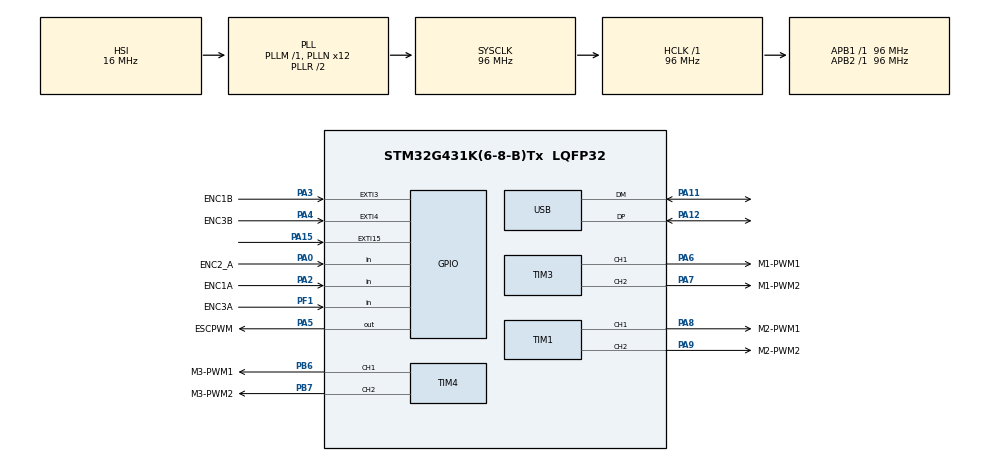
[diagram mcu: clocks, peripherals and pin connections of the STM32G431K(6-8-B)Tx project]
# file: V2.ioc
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Mcu.Family=STM32G4
Mcu.Name=STM32G431K(6-8-B)Tx
Mcu.Package=LQFP32
NVIC.EXTI3_IRQn=true\:0\:0\:false\:false\:true\:true\:true
NVIC.EXTI4_IRQn=true\:0\:0\:false\:false\:true\:true\:true
NVIC.PriorityGroup=NVIC_PRIORITYGROUP_4
NVIC.USB_LP_IRQn=true\:0\:0\:false\:false\:true\:false\:true
PA0.GPIO_Label=ENC2_A
PA0.Signal=GPIO_Input
PA11.Mode=Device
PA11.Signal=USB_DM
PA12.Mode=Device
PA12.Signal=USB_DP
PA13.Mode=Serial_Wire
PA13.Signal=SYS_JTMS-SWDIO
PA14.Mode=Serial_Wire
PA14.Signal=SYS_JTCK-SWCLK
PA15.Signal=GPXTI15
PA2.GPIO_Label=ENC1A
PA2.Signal=GPIO_Input
PA3.GPIO_Label=ENC1B
PA3.Signal=GPXTI3
PA4.GPIO_Label=ENC3B
PA4.Signal=GPXTI4
PA5.GPIO_Label=ESCPWM
PA5.Signal=GPIO_Output
PA6.GPIO_Label=M1-PWM1
PA6.Signal=S_TIM3_CH1
PA7.GPIO_Label=M1-PWM2
PA7.Signal=S_TIM3_CH2
PA8.GPIO_Label=M2-PWM1
PA8.Signal=S_TIM1_CH1
PA9.GPIO_Label=M2-PWM2
PA9.Signal=S_TIM1_CH2
PB6.GPIO_Label=M3-PWM1
PB6.Signal=S_TIM4_CH1
PB7.GPIO_Label=M3-PWM2
PB7.Signal=S_TIM4_CH2
PF1-OSC_OUT.GPIO_Label=ENC3A
PF1-OSC_OUT.Signal=GPIO_Input
ProjectManager.HeapSize=0x200
ProjectManager.StackSize=0x400
ProjectManager.TargetToolchain=STM32CubeIDE
RCC.ADC12Freq_Value=96000000
RCC.AHBFreq_Value=96000000
RCC.APB1Freq_Value=96000000
RCC.APB1TimFreq_Value=96000000
RCC.APB2Freq_Value=96000000
RCC.APB2TimFreq_Value=96000000
RCC.CortexFreq_Value=96000000
RCC.EXTERNAL_CLOCK_VALUE=12288000
RCC.HCLKFreq_Value=96000000
RCC.HSE_VALUE=8000000
RCC.HSI48_VALUE=48000000
RCC.HSI_VALUE=16000000
RCC.LSE_VALUE=32768
RCC.PLLN=12
RCC.PLLQ=RCC_PLLQ_DIV4
RCC.SYSCLKFreq_VALUE=96000000
RCC.SYSCLKSource=RCC_SYSCLKSOURCE_PLLCLK
RCC.USBFreq_Value=48000000
RCC.VCOOutputFreq_Value=192000000
SH.S_TIM1_CH1.0=TIM1_CH1,PWM Generation1 CH1
SH.S_TIM1_CH2.0=TIM1_CH2,PWM Generation2 CH2
SH.S_TIM3_CH1.0=TIM3_CH1,PWM Generation1 CH1
SH.S_TIM3_CH2.0=TIM3_CH2,PWM Generation2 CH2
SH.S_TIM4_CH1.0=TIM4_CH1,PWM Generation1 CH1
SH.S_TIM4_CH2.0=TIM4_CH2,PWM Generation2 CH2
TIM1.Channel-PWM\ Generation1\ CH1=TIM_CHANNEL_1
TIM1.Channel-PWM\ Generation2\ CH2=TIM_CHANNEL_2
TIM3.Channel-PWM\ Generation1\ CH1=TIM_CHANNEL_1
TIM3.Channel-PWM\ Generation2\ CH2=TIM_CHANNEL_2
TIM4.Channel-PWM\ Generation1\ CH1=TIM_CHANNEL_1
TIM4.Channel-PWM\ Generation2\ CH2=TIM_CHANNEL_2
USB_DEVICE.CLASS_NAME_FS=CDC
USB_DEVICE.VirtualMode=Cdc
USB_DEVICE.VirtualModeFS=Cdc_FS
VP_SYS_VS_DBSignals.Mode=DisableDeadBatterySignals
VP_TIM16_VS_ClockSourceINT.Mode=Enable_Timer
VP_TIM1_VS_ClockSourceINT.Mode=Internal
VP_TIM3_VS_ClockSourceINT.Mode=Internal
VP_TIM4_VS_ClockSourceINT.Mode=Internal
VP_TIM8_VS_ClockSourceINT.Mode=Internal
VP_USB_DEVICE_VS_USB_DEVICE_CDC_FS.Mode=CDC_FS
board=custom

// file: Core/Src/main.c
/* USER CODE BEGIN Header */
/**
  ******************************************************************************
  * @file           : main.c
  * @brief          : Main program body
  ******************************************************************************
  * @attention
  *
  * <h2><center>&copy; Copyright (c) 2021 STMicroelectronics.
  * All rights reserved.</center></h2>
  *
  * This software component is licensed by ST under BSD 3-Clause license,
  * the "License"; You may not use this file except in compliance with the
  * License. You may obtain a copy of the License at:
  *                        opensource.org/licenses/BSD-3-Clause
  *
  ******************************************************************************
  */
/* USER CODE END Header */
#include "main.h"
#include "usb_device.h"

TIM_HandleTypeDef htim1;
TIM_HandleTypeDef htim3;
TIM_HandleTypeDef htim4;
TIM_HandleTypeDef htim8;
TIM_HandleTypeDef htim16;

void SystemClock_Config(void);
static void MX_GPIO_Init(void);
static void MX_TIM1_Init(void);
static void MX_TIM3_Init(void);
static void MX_TIM4_Init(void);
static void MX_TIM8_Init(void);
static void MX_TIM16_Init(void);

/* USER CODE BEGIN 0 */
typedef struct Command { // (1)
	int8_t motor1;
	int8_t motor2;
	int8_t motor3;
	int32_t thrower;
	int32_t servo;
	int32_t ir;
//	float pGain;
//	float iGain;
//	float dGain;
	int32_t pid_type;
	uint8_t delimiter;
	int8_t speed1;
	int8_t speed2;
	int8_t speed3;
	int8_t throwerSpeed;

} Command;

Command command, feedback;
volatile uint8_t command_received = 0;
volatile uint8_t command_received_ticker = 0;

Motor motor1;
Motor motor2;
Motor motor3;

typedef struct Feedback { // (3)
  int16_t speed1;
  int16_t speed2;
  int16_t speed3;
  uint16_t delimiter;
} Feedback;

typedef struct Received{
	uint8_t speed1;
	uint8_t speed2;
	uint8_t speed3;
	uint8_t throwerSpeed;
	uint8_t delimiter;
} Received;

Received received = {.speed1 = 125, .speed2 = 125, .speed3 = 125, .throwerSpeed = 0, .delimiter = 0}; // (4)
volatile uint8_t isCommandReceived = 0; // (5)
volatile float pGain, iGain, dGain = 0;

void CDC_On_Receive(uint8_t* buffer, uint32_t* length) {

  if (*length == sizeof(Received)) {
	  memcpy(&received, buffer, sizeof(Received));

	 if (received.delimiter == 0xAA) { // (9)
		  isCommandReceived = 1;
    }
  }
}

void Set_Motor_Speed(volatile uint32_t *channel_a,
		volatile uint32_t *channel_b, int32_t motor_speed) {
	if (motor_speed > 0) {
		// forward
		if (motor_speed <= MOTORS_MAX_SPEED) {
			// 0 to 100 compact range
			*channel_a = motor_speed * MOTORS_CO + MOTORS_MIN_CCR;
		} else {
			// 100 to 65535 full range
			*channel_a = motor_speed;
		}
		*channel_b = 0;
	} else if (motor_speed < 0) {
		// backward
		if (motor_speed >= -MOTORS_MAX_SPEED) {
			// -100 to 0 compact range
			*channel_b = motor_speed * -MOTORS_CO + MOTORS_MIN_CCR;
		} else {
			// -65535 to -100 full range
			*channel_b = motor_speed * -1;
		}
		*channel_a = 0;
	} else {
		// stop
		*channel_a = 0;
		*channel_b = 0;
	}
}

int PID2(uint8_t enc, uint8_t setpoint){

	enc = 250 - enc;

	float P = 0.4;
	float I = 0.00001;
	float D = 0;

	static long integral = 0;

	if(setpoint == 0){
		integral = 0;
		return 0;
	}

	//CDC_Transmit_FS(&enc, sizeof(enc));

	float error = setpoint - enc;

	integral += error;

	int out = 50 + P*error + I*integral;

	if(out < 0){
		out = 0;
	}

	if(out > 100) out = 100;

	//CDC_Transmit_FS(&out, sizeof(out));
	return (uint8_t)out;
}
/* USER CODE END 0 */

int main(void)
{
  /* USER CODE BEGIN 1 */

    /* Initialize Rotary encoder 2, pin A = PF1, pin B = PA2 */

    /* Rotate LCD */

    /* Initialize Rotary encoder 1, pin A = PF1, pin B = PD1 */

  /* USER CODE END 1 */

  /* MCU Configuration--------------------------------------------------------*/

  /* Reset of all peripherals, Initializes the Flash interface and the Systick. */
  HAL_Init();

  /* USER CODE BEGIN Init */
  CoreDebug->DEMCR |= CoreDebug_DEMCR_TRCENA_Msk;
    DWT->CYCCNT = 0;
    DWT->CTRL |= DWT_CTRL_CYCCNTENA_Msk;

    unsigned long esctimer = DWT->CYCCNT;

  /* USER CODE END Init */

  /* Configure the system clock */
  SystemClock_Config();

  /* Initialize all configured peripherals */
  MX_GPIO_Init();
  MX_TIM1_Init();
  MX_TIM3_Init();
  MX_TIM4_Init();
  MX_TIM8_Init();
  MX_TIM16_Init();
  MX_USB_Device_Init();
  /* USER CODE BEGIN 2 */
 // HAL_TIM_Encoder_Start(&htim2, TIM_CHANNEL_1 | TIM_CHANNEL_2);

    HAL_TIM_PWM_Start(&htim1, TIM_CHANNEL_1);
  	HAL_TIM_PWM_Start(&htim1, TIM_CHANNEL_2);
  	TIM1->CCR1 = 0;
  	TIM1->CCR2 = 0;

  	HAL_TIM_PWM_Start(&htim3, TIM_CHANNEL_1);
  	HAL_TIM_PWM_Start(&htim3, TIM_CHANNEL_2);
  	TIM3->CCR1 = 0;
  	TIM3->CCR2 = 0;

  	HAL_TIM_PWM_Start(&htim4, TIM_CHANNEL_1);
  	HAL_TIM_PWM_Start(&htim4, TIM_CHANNEL_2);
  	TIM4->CCR1 = 0;
  	TIM4->CCR2 = 0;

typedef struct Feedback{
	int16_t speed1;
	int16_t speed2;
	int16_t speed3;
	int16_t delmiter;
} Feedback;

  /* USER CODE END 2 */

  /* Infinite loop */
  /* USER CODE BEGIN WHILE */
	int ENC2 = 0;
	int prev_ENC2 = 0;
	unsigned long ENCA_S = DWT->CYCCNT;
	unsigned long ENCA_D;
	uint8_t ENCA_P = 0;

	unsigned long ENCA_S1 = DWT->CYCCNT;
	unsigned long ENCA_D1;
	uint8_t ENCA_P3 = 0;

	unsigned long ENCA_S3 = DWT->CYCCNT;
	unsigned long ENCA_D3;
	uint8_t ENCA_P2 = 0;
  while (1)
  {

	  //ESC
	  if((DWT->CYCCNT - esctimer)/96000 > 20){
		  esctimer = DWT->CYCCNT;
		  HAL_GPIO_WritePin(ESCPWM_GPIO_Port, ESCPWM_Pin,1);
		  while((DWT->CYCCNT - esctimer) / 96 < (received.throwerSpeed*3.92+1000));
		  HAL_GPIO_WritePin(ESCPWM_GPIO_Port, ESCPWM_Pin,0);
	  }

	  	  unsigned long while_timeout = DWT->CYCCNT;
	  	  int timeout_flag = 0;
		  while(HAL_GPIO_ReadPin(ENC2_A_GPIO_Port, ENC2_A_Pin) == 1){  // ootab kuni läheb madalaks
			  if((DWT->CYCCNT - while_timeout)/2000 > 249){
				  timeout_flag = 1;
				  break;
			  }
		  }
		  while_timeout = DWT->CYCCNT;
		  while(HAL_GPIO_ReadPin(ENC2_A_GPIO_Port, ENC2_A_Pin) == 0){ //ootab kuni läheb kõrgeks
			  if((DWT->CYCCNT - while_timeout)/2000 > 249){
				  timeout_flag = 1;
				  break;
			  }
		  }
		  while_timeout = DWT->CYCCNT;
		  ENCA_S = DWT->CYCCNT;
		  while(HAL_GPIO_ReadPin(ENC2_A_GPIO_Port, ENC2_A_Pin) == 1){ // ootab kuni läheb madalaks
			  if((DWT->CYCCNT - while_timeout)/2000 > 249){
				  timeout_flag = 1;
				  break;
			  }
		  }

		  ENCA_D = ((DWT->CYCCNT - ENCA_S) / 2000);
		  if(ENCA_D > 249 || timeout_flag == 1) ENCA_D = 249;
		  ENCA_P = (uint8_t)ENCA_D;

		  while_timeout = DWT->CYCCNT;
		  timeout_flag = 0;
		  while(HAL_GPIO_ReadPin(ENC1A_GPIO_Port, ENC1A_Pin) == 1){  // ootab kuni läheb madalaks
			  if((DWT->CYCCNT - while_timeout)/2000 > 249){
				  timeout_flag = 1;
				  break;
			  }
		  }
		  while_timeout = DWT->CYCCNT;
		  while(HAL_GPIO_ReadPin(ENC1A_GPIO_Port, ENC1A_Pin) == 0){ //ootab kuni läheb kõrgeks
			  if((DWT->CYCCNT - while_timeout)/2000 > 249){
				  timeout_flag = 1;
				  break;
			  }
		  }
		  while_timeout = DWT->CYCCNT;
		  ENCA_S = DWT->CYCCNT;
		  while(HAL_GPIO_ReadPin(ENC1A_GPIO_Port, ENC1A_Pin) == 1){ // ootab kuni läheb madalaks
			  if((DWT->CYCCNT - while_timeout)/2000 > 249){
				  timeout_flag = 1;
				  break;
			  }
		  }

		  ENCA_D = ((DWT->CYCCNT - ENCA_S) / 2000);
		  if(ENCA_D > 249 || timeout_flag == 1) ENCA_D = 249;
		  ENCA_P3 = (uint8_t)ENCA_D;

		  while_timeout = DWT->CYCCNT;
  	  	  timeout_flag = 0;
  		  while(HAL_GPIO_ReadPin(ENC3A_GPIO_Port, ENC3A_Pin) == 1){  // ootab kuni läheb madalaks
  			  if((DWT->CYCCNT - while_timeout)/2000 > 249){
  				  timeout_flag = 1;
  				  break;
  			  }
  		  }
  		  while_timeout = DWT->CYCCNT;
  		  while(HAL_GPIO_ReadPin(ENC3A_GPIO_Port, ENC3A_Pin) == 0){ //ootab kuni läheb kõrgeks
  			  if((DWT->CYCCNT - while_timeout)/2000 > 249){
  				  timeout_flag = 1;
  				  break;
  			  }
  		  }
  		  while_timeout = DWT->CYCCNT;
  		  ENCA_S = DWT->CYCCNT;
  		  while(HAL_GPIO_ReadPin(ENC3A_GPIO_Port, ENC3A_Pin) == 1){ // ootab kuni läheb madalaks
  			  if((DWT->CYCCNT - while_timeout)/2000 > 249){
  				  timeout_flag = 1;
  				  break;
  			  }
  		  }

		  ENCA_D = ((DWT->CYCCNT - ENCA_S) / 2000);
		  if(ENCA_D > 249 || timeout_flag == 1) ENCA_D = 249;
		  ENCA_P2 = (uint8_t)ENCA_D;

		if(received.speed1 > 125){
			uint8_t pi1d = PID2(ENCA_P3, (received.speed1 - 125)*2);
			Set_Motor_Speed(&(TIM4->CCR1), &(TIM4->CCR2), pi1d);
		}
		else if(received.speed1 < 125){
			uint8_t pi1d = PID2(ENCA_P3, 250 - (received.speed1*2));
			Set_Motor_Speed(&(TIM4->CCR1), &(TIM4->CCR2), pi1d*-1);
		}
		else{
			Set_Motor_Speed(&(TIM4->CCR1), &(TIM4->CCR2), 0);
		}

		if(received.speed2 > 125){
			uint8_t pi2d = PID2(ENCA_P, (received.speed2 - 125)*2);
			Set_Motor_Speed(&(TIM1->CCR1), &(TIM1->CCR2), pi2d);
		}
		else if(received.speed2 < 125){
			uint8_t pi2d = PID2(ENCA_P, 250 - (received.speed2*2));
			Set_Motor_Speed(&(TIM1->CCR1), &(TIM1->CCR2), pi2d*-1);
		}
		else{
			Set_Motor_Speed(&(TIM1->CCR1), &(TIM1->CCR2), 0);
		}

		if(received.speed3 > 125){
			uint8_t pi3d = PID2(ENCA_P2, (received.speed3 - 125)*2);
			Set_Motor_Speed(&(TIM3->CCR1), &(TIM3->CCR2), pi3d);
		}
		else if(received.speed3 < 125){
			uint8_t pi3d = PID2(ENCA_P2, 250 - (received.speed3*2));
			Set_Motor_Speed(&(TIM3->CCR1), &(TIM3->CCR2), pi3d*-1);
		}
		else{
			Set_Motor_Speed(&(TIM3->CCR1), &(TIM3->CCR2), 0);
		}

	    //CDC_Transmit_FS(&ENCA_P, sizeof(ENCA_P));

	//	uint8_t pi3d = PID2(ENCA_P3, received.speed3);
	//  CDC_Transmit_FS(&pid, sizeof(pid));
	// 	Set_Motor_Speed(&(TIM4->CCR1), &(TIM4->CCR2), pi3d);

    /* USER CODE END WHILE */

  }
}

void SystemClock_Config(void)
{
  RCC_OscInitTypeDef RCC_OscInitStruct = {0};
  RCC_ClkInitTypeDef RCC_ClkInitStruct = {0};
  RCC_PeriphCLKInitTypeDef PeriphClkInit = {0};

  /** Configure the main internal regulator output voltage
  */
  HAL_PWREx_ControlVoltageScaling(PWR_REGULATOR_VOLTAGE_SCALE1);
  /** Initializes the RCC Oscillators according to the specified parameters
  * in the RCC_OscInitTypeDef structure.
  */
  RCC_OscInitStruct.OscillatorType = RCC_OSCILLATORTYPE_HSI;
  RCC_OscInitStruct.HSIState = RCC_HSI_ON;
  RCC_OscInitStruct.HSICalibrationValue = RCC_HSICALIBRATION_DEFAULT;
  RCC_OscInitStruct.PLL.PLLState = RCC_PLL_ON;
  RCC_OscInitStruct.PLL.PLLSource = RCC_PLLSOURCE_HSI;
  RCC_OscInitStruct.PLL.PLLM = RCC_PLLM_DIV1;
  RCC_OscInitStruct.PLL.PLLN = 12;
  RCC_OscInitStruct.PLL.PLLP = RCC_PLLP_DIV2;
  RCC_OscInitStruct.PLL.PLLQ = RCC_PLLQ_DIV4;
  RCC_OscInitStruct.PLL.PLLR = RCC_PLLR_DIV2;
  if (HAL_RCC_OscConfig(&RCC_OscInitStruct) != HAL_OK)
  {
    Error_Handler();
  }
  /** Initializes the CPU, AHB and APB buses clocks
  */
  RCC_ClkInitStruct.ClockType = RCC_CLOCKTYPE_HCLK|RCC_CLOCKTYPE_SYSCLK
                              |RCC_CLOCKTYPE_PCLK1|RCC_CLOCKTYPE_PCLK2;
  RCC_ClkInitStruct.SYSCLKSource = RCC_SYSCLKSOURCE_PLLCLK;
  RCC_ClkInitStruct.AHBCLKDivider = RCC_SYSCLK_DIV1;
  RCC_ClkInitStruct.APB1CLKDivider = RCC_HCLK_DIV1;
  RCC_ClkInitStruct.APB2CLKDivider = RCC_HCLK_DIV1;

  if (HAL_RCC_ClockConfig(&RCC_ClkInitStruct, FLASH_LATENCY_2) != HAL_OK)
  {
    Error_Handler();
  }
  /** Initializes the peripherals clocks
  */
  PeriphClkInit.PeriphClockSelection = RCC_PERIPHCLK_USB;
  PeriphClkInit.UsbClockSelection = RCC_USBCLKSOURCE_PLL;
  if (HAL_RCCEx_PeriphCLKConfig(&PeriphClkInit) != HAL_OK)
  {
    Error_Handler();
  }
}

static void MX_TIM1_Init(void)
{

  TIM_ClockConfigTypeDef sClockSourceConfig = {0};
  TIM_MasterConfigTypeDef sMasterConfig = {0};
  TIM_OC_InitTypeDef sConfigOC = {0};
  TIM_BreakDeadTimeConfigTypeDef sBreakDeadTimeConfig = {0};

  htim1.Instance = TIM1;
  htim1.Init.Prescaler = 0;
  htim1.Init.CounterMode = TIM_COUNTERMODE_UP;
  htim1.Init.Period = 65535;
  htim1.Init.ClockDivision = TIM_CLOCKDIVISION_DIV1;
  htim1.Init.RepetitionCounter = 0;
  htim1.Init.AutoReloadPreload = TIM_AUTORELOAD_PRELOAD_DISABLE;
  if (HAL_TIM_Base_Init(&htim1) != HAL_OK)
  {
    Error_Handler();
  }
  sClockSourceConfig.ClockSource = TIM_CLOCKSOURCE_INTERNAL;
  if (HAL_TIM_ConfigClockSource(&htim1, &sClockSourceConfig) != HAL_OK)
  {
    Error_Handler();
  }
  if (HAL_TIM_PWM_Init(&htim1) != HAL_OK)
  {
    Error_Handler();
  }
  sMasterConfig.MasterOutputTrigger = TIM_TRGO_RESET;
  sMasterConfig.MasterOutputTrigger2 = TIM_TRGO2_RESET;
  sMasterConfig.MasterSlaveMode = TIM_MASTERSLAVEMODE_DISABLE;
  if (HAL_TIMEx_MasterConfigSynchronization(&htim1, &sMasterConfig) != HAL_OK)
  {
    Error_Handler();
  }
  sConfigOC.OCMode = TIM_OCMODE_PWM1;
  sConfigOC.Pulse = 0;
  sConfigOC.OCPolarity = TIM_OCPOLARITY_HIGH;
  sConfigOC.OCNPolarity = TIM_OCNPOLARITY_HIGH;
  sConfigOC.OCFastMode = TIM_OCFAST_DISABLE;
  sConfigOC.OCIdleState = TIM_OCIDLESTATE_RESET;
  sConfigOC.OCNIdleState = TIM_OCNIDLESTATE_RESET;
  if (HAL_TIM_PWM_ConfigChannel(&htim1, &sConfigOC, TIM_CHANNEL_1) != HAL_OK)
  {
    Error_Handler();
  }
  sConfigOC.Pulse = 0;
  if (HAL_TIM_PWM_ConfigChannel(&htim1, &sConfigOC, TIM_CHANNEL_2) != HAL_OK)
  {
    Error_Handler();
  }
  sBreakDeadTimeConfig.OffStateRunMode = TIM_OSSR_DISABLE;
  sBreakDeadTimeConfig.OffStateIDLEMode = TIM_OSSI_DISABLE;
  sBreakDeadTimeConfig.LockLevel = TIM_LOCKLEVEL_OFF;
  sBreakDeadTimeConfig.DeadTime = 0;
  sBreakDeadTimeConfig.BreakState = TIM_BREAK_DISABLE;
  sBreakDeadTimeConfig.BreakPolarity = TIM_BREAKPOLARITY_HIGH;
  sBreakDeadTimeConfig.BreakFilter = 0;
  sBreakDeadTimeConfig.BreakAFMode = TIM_BREAK_AFMODE_INPUT;
  sBreakDeadTimeConfig.Break2State = TIM_BREAK2_DISABLE;
  sBreakDeadTimeConfig.Break2Polarity = TIM_BREAK2POLARITY_HIGH;
  sBreakDeadTimeConfig.Break2Filter = 0;
  sBreakDeadTimeConfig.Break2AFMode = TIM_BREAK_AFMODE_INPUT;
  sBreakDeadTimeConfig.AutomaticOutput = TIM_AUTOMATICOUTPUT_DISABLE;
  if (HAL_TIMEx_ConfigBreakDeadTime(&htim1, &sBreakDeadTimeConfig) != HAL_OK)
  {
    Error_Handler();
  }
  HAL_TIM_MspPostInit(&htim1);

}

static void MX_TIM3_Init(void)
{

  TIM_ClockConfigTypeDef sClockSourceConfig = {0};
  TIM_MasterConfigTypeDef sMasterConfig = {0};
  TIM_OC_InitTypeDef sConfigOC = {0};

  htim3.Instance = TIM3;
  htim3.Init.Prescaler = 0;
  htim3.Init.CounterMode = TIM_COUNTERMODE_UP;
  htim3.Init.Period = 65535;
  htim3.Init.ClockDivision = TIM_CLOCKDIVISION_DIV1;
  htim3.Init.AutoReloadPreload = TIM_AUTORELOAD_PRELOAD_DISABLE;
  if (HAL_TIM_Base_Init(&htim3) != HAL_OK)
  {
    Error_Handler();
  }
  sClockSourceConfig.ClockSource = TIM_CLOCKSOURCE_INTERNAL;
  if (HAL_TIM_ConfigClockSource(&htim3, &sClockSourceConfig) != HAL_OK)
  {
    Error_Handler();
  }
  if (HAL_TIM_PWM_Init(&htim3) != HAL_OK)
  {
    Error_Handler();
  }
  sMasterConfig.MasterOutputTrigger = TIM_TRGO_RESET;
  sMasterConfig.MasterSlaveMode = TIM_MASTERSLAVEMODE_DISABLE;
  if (HAL_TIMEx_MasterConfigSynchronization(&htim3, &sMasterConfig) != HAL_OK)
  {
    Error_Handler();
  }
  sConfigOC.OCMode = TIM_OCMODE_PWM1;
  sConfigOC.Pulse = 0;
  sConfigOC.OCPolarity = TIM_OCPOLARITY_HIGH;
  sConfigOC.OCFastMode = TIM_OCFAST_DISABLE;
  if (HAL_TIM_PWM_ConfigChannel(&htim3, &sConfigOC, TIM_CHANNEL_1) != HAL_OK)
  {
    Error_Handler();
  }
  sConfigOC.Pulse = 0;
  if (HAL_TIM_PWM_ConfigChannel(&htim3, &sConfigOC, TIM_CHANNEL_2) != HAL_OK)
  {
    Error_Handler();
  }
  HAL_TIM_MspPostInit(&htim3);

}

static void MX_TIM4_Init(void)
{

  TIM_ClockConfigTypeDef sClockSourceConfig = {0};
  TIM_MasterConfigTypeDef sMasterConfig = {0};
  TIM_OC_InitTypeDef sConfigOC = {0};

  htim4.Instance = TIM4;
  htim4.Init.Prescaler = 0;
  htim4.Init.CounterMode = TIM_COUNTERMODE_UP;
  htim4.Init.Period = 65535;
  htim4.Init.ClockDivision = TIM_CLOCKDIVISION_DIV1;
  htim4.Init.AutoReloadPreload = TIM_AUTORELOAD_PRELOAD_DISABLE;
  if (HAL_TIM_Base_Init(&htim4) != HAL_OK)
  {
    Error_Handler();
  }
  sClockSourceConfig.ClockSource = TIM_CLOCKSOURCE_INTERNAL;
  if (HAL_TIM_ConfigClockSource(&htim4, &sClockSourceConfig) != HAL_OK)
  {
    Error_Handler();
  }
  if (HAL_TIM_PWM_Init(&htim4) != HAL_OK)
  {
    Error_Handler();
  }
  sMasterConfig.MasterOutputTrigger = TIM_TRGO_RESET;
  sMasterConfig.MasterSlaveMode = TIM_MASTERSLAVEMODE_DISABLE;
  if (HAL_TIMEx_MasterConfigSynchronization(&htim4, &sMasterConfig) != HAL_OK)
  {
    Error_Handler();
  }
  sConfigOC.OCMode = TIM_OCMODE_PWM1;
  sConfigOC.Pulse = 0;
  sConfigOC.OCPolarity = TIM_OCPOLARITY_HIGH;
  sConfigOC.OCFastMode = TIM_OCFAST_DISABLE;
  if (HAL_TIM_PWM_ConfigChannel(&htim4, &sConfigOC, TIM_CHANNEL_1) != HAL_OK)
  {
    Error_Handler();
  }
  sConfigOC.Pulse = 0;
  if (HAL_TIM_PWM_ConfigChannel(&htim4, &sConfigOC, TIM_CHANNEL_2) != HAL_OK)
  {
    Error_Handler();
  }
  HAL_TIM_MspPostInit(&htim4);

}

static void MX_TIM8_Init(void)
{

  TIM_ClockConfigTypeDef sClockSourceConfig = {0};
  TIM_MasterConfigTypeDef sMasterConfig = {0};
  TIM_BreakDeadTimeConfigTypeDef sBreakDeadTimeConfig = {0};

  htim8.Instance = TIM8;
  htim8.Init.Prescaler = 0;
  htim8.Init.CounterMode = TIM_COUNTERMODE_UP;
  htim8.Init.Period = 65535;
  htim8.Init.ClockDivision = TIM_CLOCKDIVISION_DIV1;
  htim8.Init.RepetitionCounter = 0;
  htim8.Init.AutoReloadPreload = TIM_AUTORELOAD_PRELOAD_DISABLE;
  if (HAL_TIM_Base_Init(&htim8) != HAL_OK)
  {
    Error_Handler();
  }
  sClockSourceConfig.ClockSource = TIM_CLOCKSOURCE_INTERNAL;
  if (HAL_TIM_ConfigClockSource(&htim8, &sClockSourceConfig) != HAL_OK)
  {
    Error_Handler();
  }
  sMasterConfig.MasterOutputTrigger = TIM_TRGO_RESET;
  sMasterConfig.MasterOutputTrigger2 = TIM_TRGO2_RESET;
  sMasterConfig.MasterSlaveMode = TIM_MASTERSLAVEMODE_DISABLE;
  if (HAL_TIMEx_MasterConfigSynchronization(&htim8, &sMasterConfig) != HAL_OK)
  {
    Error_Handler();
  }
  sBreakDeadTimeConfig.BreakAFMode = TIM_BREAK_AFMODE_INPUT;
  sBreakDeadTimeConfig.Break2AFMode = TIM_BREAK_AFMODE_INPUT;
  if (HAL_TIMEx_ConfigBreakDeadTime(&htim8, &sBreakDeadTimeConfig) != HAL_OK)
  {
    Error_Handler();
  }

}

static void MX_TIM16_Init(void)
{

  htim16.Instance = TIM16;
  htim16.Init.Prescaler = 0;
  htim16.Init.CounterMode = TIM_COUNTERMODE_UP;
  htim16.Init.Period = 65535;
  htim16.Init.ClockDivision = TIM_CLOCKDIVISION_DIV1;
  htim16.Init.RepetitionCounter = 0;
  htim16.Init.AutoReloadPreload = TIM_AUTORELOAD_PRELOAD_DISABLE;
  if (HAL_TIM_Base_Init(&htim16) != HAL_OK)
  {
    Error_Handler();
  }

}

static void MX_GPIO_Init(void)
{
  GPIO_InitTypeDef GPIO_InitStruct = {0};

  /* GPIO Ports Clock Enable */
  __HAL_RCC_GPIOF_CLK_ENABLE();
  __HAL_RCC_GPIOA_CLK_ENABLE();
  __HAL_RCC_GPIOB_CLK_ENABLE();

  /*Configure GPIO pin Output Level */
  HAL_GPIO_WritePin(ESCPWM_GPIO_Port, ESCPWM_Pin, GPIO_PIN_RESET);

  /*Configure GPIO pin : ENC3A_Pin */
  GPIO_InitStruct.Pin = ENC3A_Pin;
  GPIO_InitStruct.Mode = GPIO_MODE_INPUT;
  GPIO_InitStruct.Pull = GPIO_NOPULL;
  HAL_GPIO_Init(ENC3A_GPIO_Port, &GPIO_InitStruct);

  /*Configure GPIO pins : ENC2_A_Pin ENC1A_Pin */
  GPIO_InitStruct.Pin = ENC2_A_Pin|ENC1A_Pin;
  GPIO_InitStruct.Mode = GPIO_MODE_INPUT;
  GPIO_InitStruct.Pull = GPIO_NOPULL;
  HAL_GPIO_Init(GPIOA, &GPIO_InitStruct);

  /*Configure GPIO pins : ENC1B_Pin ENC3B_Pin PA15 */
  GPIO_InitStruct.Pin = ENC1B_Pin|ENC3B_Pin|GPIO_PIN_15;
  GPIO_InitStruct.Mode = GPIO_MODE_IT_RISING;
  GPIO_InitStruct.Pull = GPIO_NOPULL;
  HAL_GPIO_Init(GPIOA, &GPIO_InitStruct);

  /*Configure GPIO pin : ESCPWM_Pin */
  GPIO_InitStruct.Pin = ESCPWM_Pin;
  GPIO_InitStruct.Mode = GPIO_MODE_OUTPUT_PP;
  GPIO_InitStruct.Pull = GPIO_NOPULL;
  GPIO_InitStruct.Speed = GPIO_SPEED_FREQ_LOW;
  HAL_GPIO_Init(ESCPWM_GPIO_Port, &GPIO_InitStruct);

  /* EXTI interrupt init*/
  HAL_NVIC_SetPriority(EXTI3_IRQn, 0, 0);
  HAL_NVIC_EnableIRQ(EXTI3_IRQn);

  HAL_NVIC_SetPriority(EXTI4_IRQn, 0, 0);
  HAL_NVIC_EnableIRQ(EXTI4_IRQn);

}

/* USER CODE BEGIN 4 */
void HAL_TIM_PeriodElapsedCallback(TIM_HandleTypeDef *htim) {
//	unsigned long t1 = DWT->CYCCNT;

	//Handle_Encoder(&motor1, TIM2->CNT);
	//Handle_Encoder(&motor2, TIM2->CNT);

	//Handle_Encoder(&motor3, TIM4->CNT);
	if (command.pid_type == 0) {
	//	feedback.motor1 = motor1.cur_enc_speed;
		//received.speed2 = motor2.cur_enc_speed;

		//feedback.motor3 = motor3.cur_enc_speed;
	} else {
	//	feedback.motor1 = motor1.enc_speed_hist_avg;
		//received.speed2 = motor2.enc_speed_hist_avg;
	//	feedback.motor3 = motor3.enc_speed_hist_avg;
	}

	//Calculate_PID(&motor1);
//	Calculate_PID(&motor2);
	//Calculate_PID(&motor3);
	//Set_Motor_Speed(&(TIM1->CCR1), &(TIM1->CCR2), motor1.cur_speed);//motor1.cur_speed
	//Set_Motor_Speed(&(TIM3->CCR1), &(TIM3->CCR2), motor2.cur_speed);
	//Set_Motor_Speed(&(TIM4->CCR1), &(TIM4->CCR2), motor3.cur_speed);

	// servo stopper
//	if (HAL_GPIO_ReadPin(GPIOB, GPIO_PIN_3) && !command.ir) {
//		TIM17->CCR1 = 0;
//s	}

	// timeout
	if (command_received_ticker > 0) {
		command_received_ticker -= 1;
	} else {
		// stop wheels
		TIM1->CCR1 = 0;
		TIM1->CCR2 = 0;
		TIM3->CCR1 = 0;
		TIM3->CCR2 = 0;
		TIM4->CCR1 = 0;
		TIM4->CCR2 = 0;

	}
//	unsigned long t2 = DWT->CYCCNT;
//	unsigned long diff = t2 - t1;
}

/* USER CODE END 4 */

void Error_Handler(void)
{
}

/************************ (C) COPYRIGHT STMicroelectronics *****END OF FILE****/
